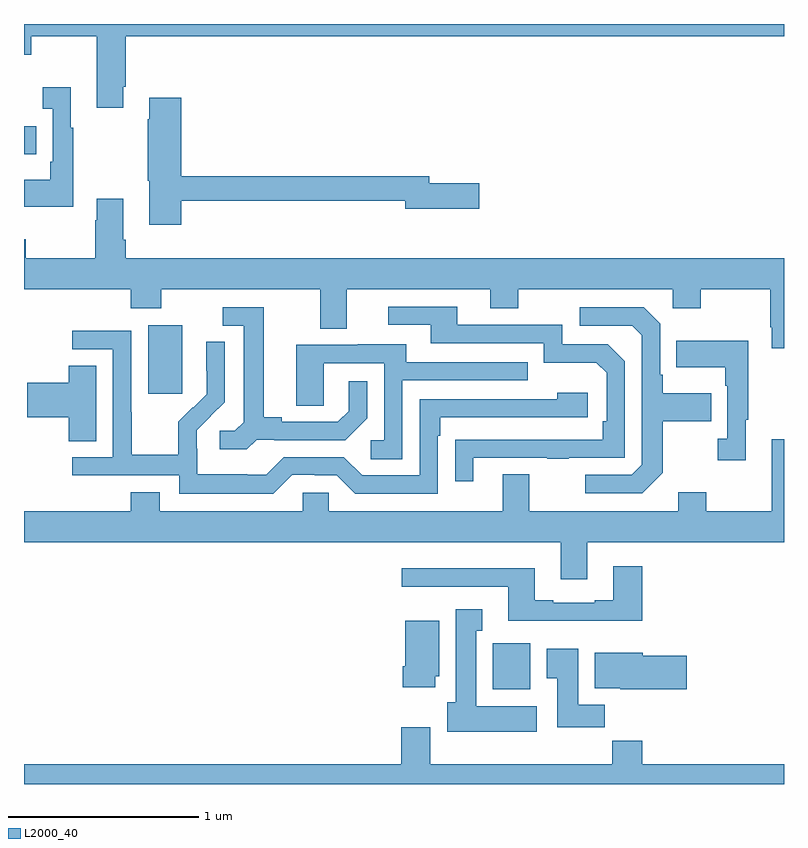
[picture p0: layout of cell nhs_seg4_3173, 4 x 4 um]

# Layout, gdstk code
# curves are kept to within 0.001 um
import gdstk
lib = gdstk.Library(unit=1e-6, precision=1e-09)
def R(c, l, rs):  # rectangles x0, y0, x1, y1
    for r in rs: c.add(gdstk.rectangle(r[:2], r[2:], *l))
def P(c, l, *ps):  # polygons
    for p in ps: c.add(gdstk.Polygon(p, *l))
L2000_40 = (2000, 40)

nhs_seg4_3173 = lib.new_cell('nhs_seg4_3173')
R(nhs_seg4_3173, L2000_40, [(281.468,777.398,281.665,777.64), (279.653,778.953,279.832,779.314), (279,780.215,279.065,780.363)])
P(nhs_seg4_3173, L2000_40, [(279.523,780.571),(279.536,780.571),(279.536,780.836),(283,780.836),(283,780.9),(279,780.9),(279,780.737),(279.039,780.737),(279.039,780.836),(279.383,780.836),(279.383,780.459),(279.523,780.459)],
  [(279.259,780.355),(279.247,780.355),(279.247,780.568),(279.099,780.568),(279.099,780.455),(279.15,780.455),(279.15,780.175),(279.138,780.175),(279.138,780.079),(279,780.079),(279,779.939),(279.259,779.939)],
  [(279.827,779.97),(281.006,779.97),(281.006,779.927),(281.395,779.927),(281.395,780.062),(281.134,780.062),(281.134,780.098),(279.827,780.098),(279.827,780.511),(279.659,780.511),(279.659,780.398),(279.652,780.398),(279.652,780.075),(279.659,780.075),(279.659,779.844),(279.827,779.844)],
  [(283,779.668),(279.536,779.668),(279.536,779.764),(279.523,779.764),(279.523,779.98),(279.383,779.98),(279.383,779.867),(279.376,779.867),(279.376,779.668),(279.009,779.668),(279.009,779.767),(279,779.767),(279,779.504),(279.563,779.504),(279.563,779.405),(279.723,779.405),(279.723,779.504),(280.559,779.504),(280.559,779.296),(280.699,779.296),(280.699,779.504),(281.453,779.504),(281.453,779.405),(281.601,779.405),(281.601,779.504),(282.414,779.504),(282.414,779.405),(282.561,779.405),(282.561,779.504),(282.928,779.504),(282.928,779.305),(282.935,779.305),(282.935,779.193),(283,779.193)],
  [(281.365,778.617),(281.755,778.617),(281.755,778.612),(281.867,778.612),(281.867,778.617),(282.162,778.617),(282.162,779.124),(282.072,779.214),(281.832,779.214),(281.832,779.316),(281.281,779.316),(281.281,779.412),(280.917,779.412),(280.917,779.316),(281.141,779.316),(281.141,779.22),(281.736,779.22),(281.736,779.117),(282.013,779.117),(282.066,779.064),(282.066,778.81),(282.046,778.81),(282.046,778.713),(281.269,778.712),(281.269,778.494),(281.365,778.494)],
  [(280.224,778.713),(280.318,778.713),(280.318,778.71),(280.69,778.71),(280.806,778.826),(280.806,779.02),(280.709,779.02),(280.709,778.863),(280.652,778.806),(280.357,778.806),(280.357,778.829),(280.261,778.829),(280.261,779.409),(280.047,779.409),(280.047,779.313),(280.157,779.313),(280.157,778.805),(280.11,778.758),(280.029,778.758),(280.029,778.661),(280.172,778.661)],
  [(282.361,778.537),(282.361,778.81),(282.617,778.81),(282.617,778.957),(282.361,778.957),(282.361,779.053),(282.348,779.053),(282.348,779.322),(282.261,779.409),(281.925,779.409),(281.925,779.313),(282.201,779.313),(282.252,779.262),(282.252,778.581),(282.198,778.527),(281.955,778.527),(281.955,778.431),(282.255,778.431)],
  [(280.413,778.527),(280.529,778.527),(280.529,778.524),(280.647,778.524),(280.743,778.428),(281.178,778.428),(281.178,778.733),(281.191,778.733),(281.191,778.83),(281.968,778.83),(281.968,778.96),(281.807,778.96),(281.807,778.926),(281.082,778.926),(281.082,778.524),(280.779,778.524),(280.683,778.62),(280.368,778.62),(280.275,778.527),(280.175,778.527),(280.175,778.531),(279.912,778.531),(279.912,778.665),(279.91,778.665),(279.91,778.762),(280.056,778.91),(280.056,779.228),(279.96,779.228),(279.96,779.074),(279.962,779.074),(279.962,778.952),(279.891,778.881),(279.888,778.884),(279.811,778.807),(279.811,778.633),(279.567,778.633),(279.567,778.856),(279.564,778.856),(279.564,779.286),(279.255,779.286),(279.255,779.187),(279.468,779.187),(279.468,778.62),(279.255,778.62),(279.255,778.524),(279.816,778.524),(279.816,778.427),(280.313,778.427)],
  [(282.799,778.817),(282.811,778.817),(282.811,779.233),(282.433,779.233),(282.433,779.093),(282.69,779.093),(282.69,778.997),(282.702,778.997),(282.702,778.718),(282.651,778.718),(282.651,778.605),(282.799,778.605)],
  [(280.992,779.025),(281.651,779.025),(281.651,779.121),(281.011,779.121),(281.011,779.215),(280.757,779.215),(280.757,779.211),(280.433,779.211),(280.433,778.891),(280.578,778.891),(280.578,779.115),(280.896,779.115),(280.896,778.71),(280.824,778.71),(280.824,778.609),(280.992,778.609)],
  [(279.379,779.102),(279.236,779.102),(279.236,779.012),(279.018,779.012),(279.018,778.829),(279.236,778.829),(279.236,778.705),(279.379,778.705)],
  [(281.965,778.172),(283,778.172),(283,778.714),(282.935,778.714),(282.935,778.336),(282.591,778.336),(282.591,778.435),(282.443,778.435),(282.443,778.336),(281.659,778.336),(281.659,778.531),(281.519,778.531),(281.519,778.336),(280.605,778.336),(280.605,778.434),(280.467,778.434),(280.467,778.336),(279.715,778.336),(279.715,778.435),(279.563,778.435),(279.563,778.336),(279,778.336),(279,778.172),(281.825,778.172),(281.825,777.978),(281.965,777.978)],
  [(282.254,778.045),(282.101,778.045),(282.101,777.868),(282.005,777.868),(282.005,777.855),(281.785,777.855),(281.785,777.868),(281.689,777.868),(281.689,778.036),(280.989,778.036),(280.989,777.939),(281.549,777.939),(281.549,777.758),(282.254,777.758)],
  [(281.698,777.31),(281.38,777.31),(281.38,777.707),(281.413,777.707),(281.413,777.82),(281.273,777.82),(281.273,777.33),(281.228,777.33),(281.228,777.176),(281.698,777.176)],
  [(281.164,777.468),(281.185,777.468),(281.185,777.76),(281.006,777.76),(281.006,777.52),(280.994,777.52),(280.994,777.408),(281.164,777.408)],
  [(282.056,777.316),(281.917,777.316),(281.917,777.613),(281.75,777.613),(281.75,777.457),(281.807,777.457),(281.807,777.198),(282.056,777.198)],
  [(282.487,777.575),(282.256,777.575),(282.256,777.592),(282.005,777.592),(282.005,777.404),(282.138,777.404),(282.138,777.398),(282.487,777.398)],
  [(283,777.004),(282.254,777.004),(282.254,777.128),(282.097,777.128),(282.097,777.004),(281.137,777.004),(281.137,777.199),(280.985,777.199),(280.985,777.004),(279,777.004),(279,776.9),(283,776.9)])

lib.write_gds('nhs_seg4_3173.gds')
